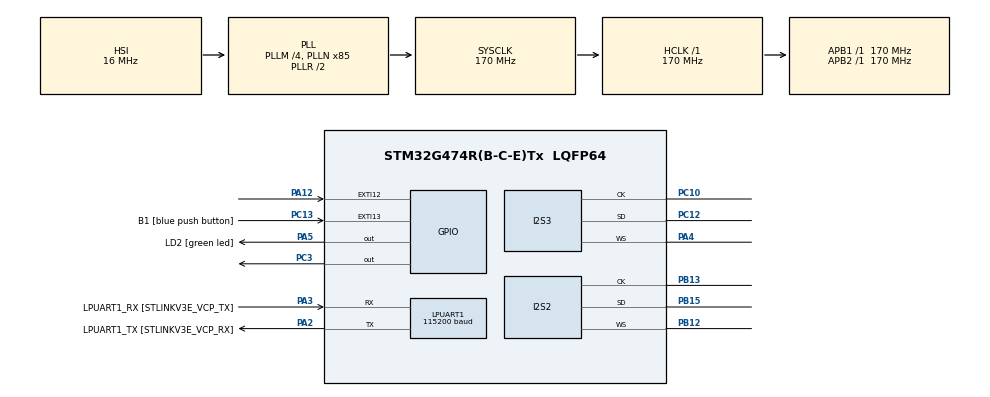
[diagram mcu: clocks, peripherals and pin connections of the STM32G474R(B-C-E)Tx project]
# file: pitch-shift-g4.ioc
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Dma.LPUART1_TX.1.Direction=DMA_MEMORY_TO_PERIPH
Dma.LPUART1_TX.1.EventEnable=DISABLE
Dma.LPUART1_TX.1.Instance=DMA1_Channel2
Dma.LPUART1_TX.1.MemDataAlignment=DMA_MDATAALIGN_BYTE
Dma.LPUART1_TX.1.MemInc=DMA_MINC_ENABLE
Dma.LPUART1_TX.1.Mode=DMA_NORMAL
Dma.LPUART1_TX.1.PeriphDataAlignment=DMA_PDATAALIGN_BYTE
Dma.LPUART1_TX.1.PeriphInc=DMA_PINC_DISABLE
Dma.LPUART1_TX.1.Polarity=HAL_DMAMUX_REQ_GEN_RISING
Dma.LPUART1_TX.1.Priority=DMA_PRIORITY_LOW
Dma.LPUART1_TX.1.RequestNumber=1
Dma.LPUART1_TX.1.SignalID=NONE
Dma.LPUART1_TX.1.SyncEnable=DISABLE
Dma.LPUART1_TX.1.SyncPolarity=HAL_DMAMUX_SYNC_NO_EVENT
Dma.LPUART1_TX.1.SyncRequestNumber=1
Dma.LPUART1_TX.1.SyncSignalID=NONE
Dma.Request0=SPI2_RX
Dma.Request1=LPUART1_TX
Dma.Request2=SPI3_TX
Dma.SPI2_RX.0.Direction=DMA_PERIPH_TO_MEMORY
Dma.SPI2_RX.0.EventEnable=DISABLE
Dma.SPI2_RX.0.Instance=DMA1_Channel1
Dma.SPI2_RX.0.MemDataAlignment=DMA_MDATAALIGN_HALFWORD
Dma.SPI2_RX.0.MemInc=DMA_MINC_ENABLE
Dma.SPI2_RX.0.Mode=DMA_CIRCULAR
Dma.SPI2_RX.0.PeriphDataAlignment=DMA_PDATAALIGN_HALFWORD
Dma.SPI2_RX.0.PeriphInc=DMA_PINC_DISABLE
Dma.SPI2_RX.0.Polarity=HAL_DMAMUX_REQ_GEN_RISING
Dma.SPI2_RX.0.Priority=DMA_PRIORITY_LOW
Dma.SPI2_RX.0.RequestNumber=1
Dma.SPI2_RX.0.SignalID=NONE
Dma.SPI2_RX.0.SyncEnable=DISABLE
Dma.SPI2_RX.0.SyncPolarity=HAL_DMAMUX_SYNC_NO_EVENT
Dma.SPI2_RX.0.SyncRequestNumber=1
Dma.SPI2_RX.0.SyncSignalID=NONE
Dma.SPI3_TX.2.Direction=DMA_MEMORY_TO_PERIPH
Dma.SPI3_TX.2.EventEnable=DISABLE
Dma.SPI3_TX.2.Instance=DMA1_Channel3
Dma.SPI3_TX.2.MemDataAlignment=DMA_MDATAALIGN_HALFWORD
Dma.SPI3_TX.2.MemInc=DMA_MINC_ENABLE
Dma.SPI3_TX.2.Mode=DMA_CIRCULAR
Dma.SPI3_TX.2.PeriphDataAlignment=DMA_PDATAALIGN_HALFWORD
Dma.SPI3_TX.2.PeriphInc=DMA_PINC_DISABLE
Dma.SPI3_TX.2.Polarity=HAL_DMAMUX_REQ_GEN_RISING
Dma.SPI3_TX.2.Priority=DMA_PRIORITY_LOW
Dma.SPI3_TX.2.RequestNumber=1
Dma.SPI3_TX.2.SignalID=NONE
Dma.SPI3_TX.2.SyncEnable=DISABLE
Dma.SPI3_TX.2.SyncPolarity=HAL_DMAMUX_SYNC_NO_EVENT
Dma.SPI3_TX.2.SyncRequestNumber=1
Dma.SPI3_TX.2.SyncSignalID=NONE
I2S2.AudioFreq=I2S_AUDIOFREQ_32K
I2S2.DataFormat=I2S_DATAFORMAT_16B_EXTENDED
I2S2.ErrorAudioFreq=0.0 %
I2S2.FullDuplexMode=I2S_FULLDUPLEXMODE_DISABLE
I2S2.Instance=SPI$Index
I2S2.Mode=I2S_MODE_MASTER_RX
I2S2.RealAudioFreq=32.003 KHz
I2S2.VirtualMode=I2S_MODE_MASTER
I2S3.AudioFreq=I2S_AUDIOFREQ_32K
I2S3.DataFormat=I2S_DATAFORMAT_16B_EXTENDED
I2S3.ErrorAudioFreq=0.0 %
I2S3.FullDuplexMode=I2S_FULLDUPLEXMODE_DISABLE
I2S3.Instance=SPI$Index
I2S3.RealAudioFreq=32.003 KHz
I2S3.Standard=I2S_STANDARD_PHILIPS
I2S3.VirtualMode=I2S_MODE_MASTER
LPUART1.BaudRate=115200
LPUART1.Mode=UART_MODE_TX_RX
Mcu.Family=STM32G4
Mcu.Name=STM32G474R(B-C-E)Tx
Mcu.Package=LQFP64
NVIC.DMA1_Channel1_IRQn=true\:0\:0\:false\:false\:true\:false\:true\:true
NVIC.DMA1_Channel2_IRQn=true\:0\:0\:false\:false\:true\:false\:true\:true
NVIC.DMA1_Channel3_IRQn=true\:0\:0\:false\:false\:true\:false\:true\:true
NVIC.EXTI15_10_IRQn=true\:0\:0\:false\:false\:true\:true\:true\:true
NVIC.LPUART1_IRQn=true\:0\:0\:false\:false\:true\:true\:true\:true
NVIC.PriorityGroup=NVIC_PRIORITYGROUP_4
NVIC.TIM1_UP_TIM16_IRQn=true\:0\:0\:false\:false\:true\:true\:true\:true
PA12.GPIO_ModeDefaultEXTI=GPIO_MODE_IT_RISING
PA12.Signal=GPXTI12
PA13.GPIO_Label=T_SWDIO
PA13.Signal=SYS_JTMS-SWDIO
PA14.GPIO_Label=T_SWCLK
PA14.Signal=SYS_JTCK-SWCLK
PA2.GPIO_Label=LPUART1_TX [STLINKV3E_VCP_RX]
PA2.Mode=Asynchronous
PA2.Signal=LPUART1_TX
PA3.GPIO_Label=LPUART1_RX [STLINKV3E_VCP_TX]
PA3.Mode=Asynchronous
PA3.Signal=LPUART1_RX
PA4.Mode=Half_Duplex_Master
PA4.Signal=I2S3_WS
PA5.GPIO_Label=LD2 [green led]
PA5.Signal=GPIO_Output
PB12.Mode=Half_Duplex_Master
PB12.Signal=I2S2_WS
PB13.Mode=Half_Duplex_Master
PB13.Signal=I2S2_CK
PB15.Mode=Half_Duplex_Master
PB15.Signal=I2S2_SD
PB3.GPIO_Label=T_SWO
PB3.Signal=SYS_JTDO-SWO
PC10.Mode=Half_Duplex_Master
PC10.Signal=I2S3_CK
PC12.Mode=Half_Duplex_Master
PC12.Signal=I2S3_SD
PC13.GPIO_Label=B1 [blue push button]
PC13.Signal=GPXTI13
PC14-OSC32_IN.Signal=RCC_OSC32_IN
PC15-OSC32_OUT.Signal=RCC_OSC32_OUT
PC3.Signal=GPIO_Output
PF0-OSC_IN.Signal=RCC_OSC_IN
PF1-OSC_OUT.Signal=RCC_OSC_OUT
ProjectManager.HeapSize=0x200
ProjectManager.StackSize=0x400
ProjectManager.TargetToolchain=STM32CubeIDE
RCC.ADC12Freq_Value=170000000
RCC.ADC345Freq_Value=170000000
RCC.AHBFreq_Value=170000000
RCC.APB1Freq_Value=170000000
RCC.APB1TimFreq_Value=170000000
RCC.APB2Freq_Value=170000000
RCC.APB2TimFreq_Value=170000000
RCC.CortexFreq_Value=170000000
RCC.EXTERNAL_CLOCK_VALUE=12288000
RCC.HCLKFreq_Value=170000000
RCC.HSE_VALUE=24000000
RCC.HSI48_VALUE=48000000
RCC.HSI_VALUE=16000000
RCC.LSE_VALUE=32768
RCC.PLLM=RCC_PLLM_DIV4
RCC.PLLN=85
RCC.RTCClockSelection=RCC_RTCCLKSOURCE_LSE
RCC.SYSCLKFreq_VALUE=170000000
RCC.SYSCLKSource=RCC_SYSCLKSOURCE_PLLCLK
RCC.USBFreq_Value=170000000
RCC.VCOOutputFreq_Value=340000000
STMicroelectronics.X-CUBE-ALGOBUILD.1.3.0.LibraryCcDSPOoLibraryJjDSPOoLibrary=true
TIM16.PeriodNoDither=4000-1
TIM16.Prescaler=17000-1
VP_STMicroelectronics.X-CUBE-ALGOBUILD_VS_DSPOoLibraryJjLibrary_1.3.0_1.3.0.Mode=DSPOoLibraryJjLibrary
VP_SYS_VS_DBSignals.Mode=DisableDeadBatterySignals
VP_TIM16_VS_ClockSourceINT.Mode=Enable_Timer
board=NUCLEO-G474RE

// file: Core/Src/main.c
/* USER CODE BEGIN Header */
/**
  ******************************************************************************
  * @file           : main.c
  * @brief          : Main program body
  ******************************************************************************
  * @attention
  *
  * Copyright (c) 2023 STMicroelectronics.
  * All rights reserved.
  *
  * This software is licensed under terms that can be found in the LICENSE file
  * in the root directory of this software component.
  * If no LICENSE file comes with this software, it is provided AS-IS.
  *
  ******************************************************************************
  */
/* USER CODE END Header */
#include "main.h"

/* USER CODE BEGIN Includes */
#include <math.h>
#include <stdlib.h>
#include <stdio.h>
#include <time.h>

/* USER CODE END Includes */

I2S_HandleTypeDef hi2s2;
I2S_HandleTypeDef hi2s3;
DMA_HandleTypeDef hdma_spi2_rx;
DMA_HandleTypeDef hdma_spi3_tx;

UART_HandleTypeDef hlpuart1;
DMA_HandleTypeDef hdma_lpuart1_tx;

TIM_HandleTypeDef htim16;

void SystemClock_Config(void);
static void MX_GPIO_Init(void);
static void MX_DMA_Init(void);
static void MX_I2S2_Init(void);
static void MX_LPUART1_UART_Init(void);
static void MX_I2S3_Init(void);
static void MX_TIM16_Init(void);

/* USER CODE BEGIN 0 */
#define BUFSIZE 1000
#define OVERLAP 100

int button;
int buf[BUFSIZE];
int wptr;
float rptr;
float shift;
float crossfade;
float a0, a1, a2, b1, b2, hp_in_z1, hp_in_z2, hp_out_z1, hp_out_z2;
uint16_t rxBuf[4];
uint16_t txBuf[4];

/* USER CODE END 0 */

int main(void)
{

  /* MCU Configuration--------------------------------------------------------*/

  /* Reset of all peripherals, Initializes the Flash interface and the Systick. */
  HAL_Init();

  /* Configure the system clock */
  SystemClock_Config();

  /* Initialize all configured peripherals */
  MX_GPIO_Init();
  MX_DMA_Init();
  MX_I2S2_Init();
  MX_LPUART1_UART_Init();
  MX_I2S3_Init();
  MX_TIM16_Init();
  /* USER CODE BEGIN 2 */
  HAL_I2S_Receive_DMA(&hi2s2, (uint16_t *)rxBuf, 4);
  HAL_I2S_Transmit_DMA(&hi2s3, (uint16_t *)txBuf, 4);
  HAL_TIM_Base_Start_IT(&htim16);

//  shift = (float)(rand()) / RAND_MAX * 0.6 + 0.7;
//  shift = 1.2f;
  button = 0;
  wptr = 0;
  rptr = 0.0f;
  crossfade = 1.0f;

  /* USER CODE END 2 */

  /* Infinite loop */
  while (1)
  {

  }
}

void SystemClock_Config(void)
{
  RCC_OscInitTypeDef RCC_OscInitStruct = {0};
  RCC_ClkInitTypeDef RCC_ClkInitStruct = {0};

  /** Configure the main internal regulator output voltage
  */
  HAL_PWREx_ControlVoltageScaling(PWR_REGULATOR_VOLTAGE_SCALE1_BOOST);

  /** Initializes the RCC Oscillators according to the specified parameters
  * in the RCC_OscInitTypeDef structure.
  */
  RCC_OscInitStruct.OscillatorType = RCC_OSCILLATORTYPE_HSI;
  RCC_OscInitStruct.HSIState = RCC_HSI_ON;
  RCC_OscInitStruct.HSICalibrationValue = RCC_HSICALIBRATION_DEFAULT;
  RCC_OscInitStruct.PLL.PLLState = RCC_PLL_ON;
  RCC_OscInitStruct.PLL.PLLSource = RCC_PLLSOURCE_HSI;
  RCC_OscInitStruct.PLL.PLLM = RCC_PLLM_DIV4;
  RCC_OscInitStruct.PLL.PLLN = 85;
  RCC_OscInitStruct.PLL.PLLP = RCC_PLLP_DIV2;
  RCC_OscInitStruct.PLL.PLLQ = RCC_PLLQ_DIV2;
  RCC_OscInitStruct.PLL.PLLR = RCC_PLLR_DIV2;
  if (HAL_RCC_OscConfig(&RCC_OscInitStruct) != HAL_OK)
  {
    Error_Handler();
  }

  /** Initializes the CPU, AHB and APB buses clocks
  */
  RCC_ClkInitStruct.ClockType = RCC_CLOCKTYPE_HCLK|RCC_CLOCKTYPE_SYSCLK
                              |RCC_CLOCKTYPE_PCLK1|RCC_CLOCKTYPE_PCLK2;
  RCC_ClkInitStruct.SYSCLKSource = RCC_SYSCLKSOURCE_PLLCLK;
  RCC_ClkInitStruct.AHBCLKDivider = RCC_SYSCLK_DIV1;
  RCC_ClkInitStruct.APB1CLKDivider = RCC_HCLK_DIV1;
  RCC_ClkInitStruct.APB2CLKDivider = RCC_HCLK_DIV1;

  if (HAL_RCC_ClockConfig(&RCC_ClkInitStruct, FLASH_LATENCY_4) != HAL_OK)
  {
    Error_Handler();
  }
}

static void MX_I2S2_Init(void)
{

  hi2s2.Instance = SPI2;
  hi2s2.Init.Mode = I2S_MODE_MASTER_RX;
  hi2s2.Init.Standard = I2S_STANDARD_PHILIPS;
  hi2s2.Init.DataFormat = I2S_DATAFORMAT_16B_EXTENDED;
  hi2s2.Init.MCLKOutput = I2S_MCLKOUTPUT_DISABLE;
  hi2s2.Init.AudioFreq = I2S_AUDIOFREQ_32K;
  hi2s2.Init.CPOL = I2S_CPOL_LOW;
  if (HAL_I2S_Init(&hi2s2) != HAL_OK)
  {
    Error_Handler();
  }

}

static void MX_I2S3_Init(void)
{

  hi2s3.Instance = SPI3;
  hi2s3.Init.Mode = I2S_MODE_MASTER_TX;
  hi2s3.Init.Standard = I2S_STANDARD_PHILIPS;
  hi2s3.Init.DataFormat = I2S_DATAFORMAT_16B_EXTENDED;
  hi2s3.Init.MCLKOutput = I2S_MCLKOUTPUT_DISABLE;
  hi2s3.Init.AudioFreq = I2S_AUDIOFREQ_32K;
  hi2s3.Init.CPOL = I2S_CPOL_LOW;
  if (HAL_I2S_Init(&hi2s3) != HAL_OK)
  {
    Error_Handler();
  }

}

static void MX_LPUART1_UART_Init(void)
{

  hlpuart1.Instance = LPUART1;
  hlpuart1.Init.BaudRate = 115200;
  hlpuart1.Init.WordLength = UART_WORDLENGTH_8B;
  hlpuart1.Init.StopBits = UART_STOPBITS_1;
  hlpuart1.Init.Parity = UART_PARITY_NONE;
  hlpuart1.Init.Mode = UART_MODE_TX_RX;
  hlpuart1.Init.HwFlowCtl = UART_HWCONTROL_NONE;
  hlpuart1.Init.OneBitSampling = UART_ONE_BIT_SAMPLE_DISABLE;
  hlpuart1.Init.ClockPrescaler = UART_PRESCALER_DIV1;
  hlpuart1.AdvancedInit.AdvFeatureInit = UART_ADVFEATURE_NO_INIT;
  if (HAL_UART_Init(&hlpuart1) != HAL_OK)
  {
    Error_Handler();
  }
  if (HAL_UARTEx_SetTxFifoThreshold(&hlpuart1, UART_TXFIFO_THRESHOLD_1_8) != HAL_OK)
  {
    Error_Handler();
  }
  if (HAL_UARTEx_SetRxFifoThreshold(&hlpuart1, UART_RXFIFO_THRESHOLD_1_8) != HAL_OK)
  {
    Error_Handler();
  }
  if (HAL_UARTEx_DisableFifoMode(&hlpuart1) != HAL_OK)
  {
    Error_Handler();
  }

}

static void MX_TIM16_Init(void)
{

  htim16.Instance = TIM16;
  htim16.Init.Prescaler = 17000-1;
  htim16.Init.CounterMode = TIM_COUNTERMODE_UP;
  htim16.Init.Period = 3999;
  htim16.Init.ClockDivision = TIM_CLOCKDIVISION_DIV1;
  htim16.Init.RepetitionCounter = 0;
  htim16.Init.AutoReloadPreload = TIM_AUTORELOAD_PRELOAD_DISABLE;
  if (HAL_TIM_Base_Init(&htim16) != HAL_OK)
  {
    Error_Handler();
  }

}

static void MX_DMA_Init(void)
{

  /* DMA controller clock enable */
  __HAL_RCC_DMAMUX1_CLK_ENABLE();
  __HAL_RCC_DMA1_CLK_ENABLE();

  /* DMA interrupt init */
  /* DMA1_Channel1_IRQn interrupt configuration */
  HAL_NVIC_SetPriority(DMA1_Channel1_IRQn, 0, 0);
  HAL_NVIC_EnableIRQ(DMA1_Channel1_IRQn);
  /* DMA1_Channel2_IRQn interrupt configuration */
  HAL_NVIC_SetPriority(DMA1_Channel2_IRQn, 0, 0);
  HAL_NVIC_EnableIRQ(DMA1_Channel2_IRQn);
  /* DMA1_Channel3_IRQn interrupt configuration */
  HAL_NVIC_SetPriority(DMA1_Channel3_IRQn, 0, 0);
  HAL_NVIC_EnableIRQ(DMA1_Channel3_IRQn);

}

static void MX_GPIO_Init(void)
{
  GPIO_InitTypeDef GPIO_InitStruct = {0};

  /* GPIO Ports Clock Enable */
  __HAL_RCC_GPIOC_CLK_ENABLE();
  __HAL_RCC_GPIOF_CLK_ENABLE();
  __HAL_RCC_GPIOA_CLK_ENABLE();
  __HAL_RCC_GPIOB_CLK_ENABLE();

  /*Configure GPIO pin Output Level */
  HAL_GPIO_WritePin(GPIOC, GPIO_PIN_3, GPIO_PIN_RESET);

  /*Configure GPIO pin Output Level */
  HAL_GPIO_WritePin(LD2_GPIO_Port, LD2_Pin, GPIO_PIN_RESET);

  /*Configure GPIO pin : B1_Pin */
  GPIO_InitStruct.Pin = B1_Pin;
  GPIO_InitStruct.Mode = GPIO_MODE_IT_RISING;
  GPIO_InitStruct.Pull = GPIO_NOPULL;
  HAL_GPIO_Init(B1_GPIO_Port, &GPIO_InitStruct);

  /*Configure GPIO pin : PC3 */
  GPIO_InitStruct.Pin = GPIO_PIN_3;
  GPIO_InitStruct.Mode = GPIO_MODE_OUTPUT_PP;
  GPIO_InitStruct.Pull = GPIO_NOPULL;
  GPIO_InitStruct.Speed = GPIO_SPEED_FREQ_LOW;
  HAL_GPIO_Init(GPIOC, &GPIO_InitStruct);

  /*Configure GPIO pin : LD2_Pin */
  GPIO_InitStruct.Pin = LD2_Pin;
  GPIO_InitStruct.Mode = GPIO_MODE_OUTPUT_PP;
  GPIO_InitStruct.Pull = GPIO_NOPULL;
  GPIO_InitStruct.Speed = GPIO_SPEED_FREQ_LOW;
  HAL_GPIO_Init(LD2_GPIO_Port, &GPIO_InitStruct);

  /*Configure GPIO pin : PA12 */
  GPIO_InitStruct.Pin = GPIO_PIN_12;
  GPIO_InitStruct.Mode = GPIO_MODE_IT_RISING;
  GPIO_InitStruct.Pull = GPIO_NOPULL;
  HAL_GPIO_Init(GPIOA, &GPIO_InitStruct);

  /* EXTI interrupt init*/
  HAL_NVIC_SetPriority(EXTI15_10_IRQn, 0, 0);
  HAL_NVIC_EnableIRQ(EXTI15_10_IRQn);

}

/* USER CODE BEGIN 4 */
void HAL_TIM_PeriodElapsedCallback(TIM_HandleTypeDef *htim)
{
  if (htim == &htim16 ) {
//	  shift = (float)(rand()) / RAND_MAX * 0.3 + 1.4;
//    HAL_GPIO_TogglePin(GPIOA, GPIO_PIN_5); // DEBUG: LED
  }
}

void HAL_GPIO_EXTI_Callback(uint16_t GPIO_Pin)
{
//    if(GPIO_Pin == GPIO_PIN_13)
//    {
//    HAL_GPIO_TogglePin(GPIOA, GPIO_PIN_5);
//    if(button) button = 0;
//    else button = 1;
//    }
//    else if(GPIO_Pin == GPIO_PIN_12){
//    	shift = (float)(rand()) / RAND_MAX * 0.7 + 0.6;
//    }
	if(GPIO_Pin == GPIO_PIN_13)
	{
		HAL_GPIO_TogglePin(GPIOA, GPIO_PIN_5);
		if(button){
			button = 0;
			shift = 0.0;
		}
		else{
			button = 1;
			shift = 0.8;
		}
	}
}

int hp_filter (int inSample) {
	a0 = 0.9862117951198142f;
	a1 = -1.9724235902396283f;
	a2 = 0.9862117951198142f;
	b1 = -1.972233470205696f;
	b2 = 0.9726137102735608f;

	float inSampleF = (float)inSample;
	float outSampleF =
			a0 * inSampleF
			+ a1 * hp_in_z1
			+ a2 * hp_in_z2
			- b1 * hp_out_z1
			- b2 * hp_out_z2;
	hp_in_z2 = hp_in_z1;
	hp_in_z1 = inSampleF;
	hp_out_z2 = hp_out_z1;
	hp_out_z1 = outSampleF;

	return (int) outSampleF;
}

uint16_t shifter(uint16_t sample) {
//	HAL_GPIO_WritePin(GPIOC, GPIO_PIN_3, GPIO_PIN_SET); // DEBUG TIMING

	// WRITE TO RING BUFFER
	// sample = hp_filter(sample);
	buf[wptr] = sample;

	// TURN FRACTIONAL READ POINTER INTO 0° and 180° INTEGER  READ POINTER INDEX
	int rptr_int = roundf(rptr);
	int rptr_int2 = 0;
	if (rptr_int >= BUFSIZE/2) rptr_int2 = rptr_int - (BUFSIZE/2);
	else rptr_int2 = rptr_int + (BUFSIZE/2);

	// READ THE TWO SAMPLES
	float rd0 = (float)buf[rptr_int];
	float rd1 = (float)buf[rptr_int2];

	// CHECK IF FIRST READ POINTER OVERLAPS WITH WRITE POINTER --> IF YES: DO CROSS-FADE TO SECOND READ POINTER
	if (OVERLAP >= (wptr - rptr_int) && (wptr - rptr_int) >= 0 && shift != 1.0f){
		int rel = wptr - rptr_int;
		crossfade = ((float)rel)/(float)OVERLAP;
	}
	else if (wptr - rptr_int == 0) crossfade = 0.0f;

	// CHECK IF SECOND READ POINTER OVERLAPS WITH WRITE POINTER --> IF YES: DO CROSS-FADE TO FIRST READ POINTER
	if (OVERLAP >= (wptr - rptr_int2) && (wptr - rptr_int2) >= 0 && shift != 1.0f){
		int rel = wptr - rptr_int2;
		crossfade = 1.0f - ((float)rel)/(float)OVERLAP;
	}
	else if (wptr - rptr_int2 == 0) crossfade = 1.0f;

	// DO CROSS-FADING AND SUM UP
	sample = (rd0*roundf(crossfade) + rd1*(1.0f - roundf(crossfade)));

	// INCREMENT FRACTIONAL READ POINTER AND WRITE POINTER
	rptr += shift;
	wptr++;

	// RESET IF HIT THE END POINT
	if (wptr == BUFSIZE) wptr = 0;
	if (roundf(rptr) >= BUFSIZE) rptr = 0.0f;

//	HAL_GPIO_WritePin(GPIOC, GPIO_PIN_3, GPIO_PIN_RESET); // DEBUG TIMING

	return sample;
}

void HAL_I2S_RxHalfCpltCallback(I2S_HandleTypeDef *hi2s){
	if(button){
		uint16_t shifted_sample = shifter(rxBuf[0]);
		txBuf[0] = shifted_sample;
		txBuf[1] = shifted_sample;
	}
	else {
		txBuf[0] = rxBuf[0];
		txBuf[1] = rxBuf[1];
	}
}

void HAL_I2S_RxCpltCallback(I2S_HandleTypeDef *hi2s){
	if(button){
		uint16_t shifted_sample = shifter(rxBuf[2]);
		txBuf[2] = shifted_sample;
		txBuf[3] = shifted_sample;
	}
	else {
		txBuf[2] = rxBuf[2];
		txBuf[3] = rxBuf[3];
	}
}

/* USER CODE END 4 */

void Error_Handler(void)
{
  __disable_irq();
  while (1)
  {
  }
}
